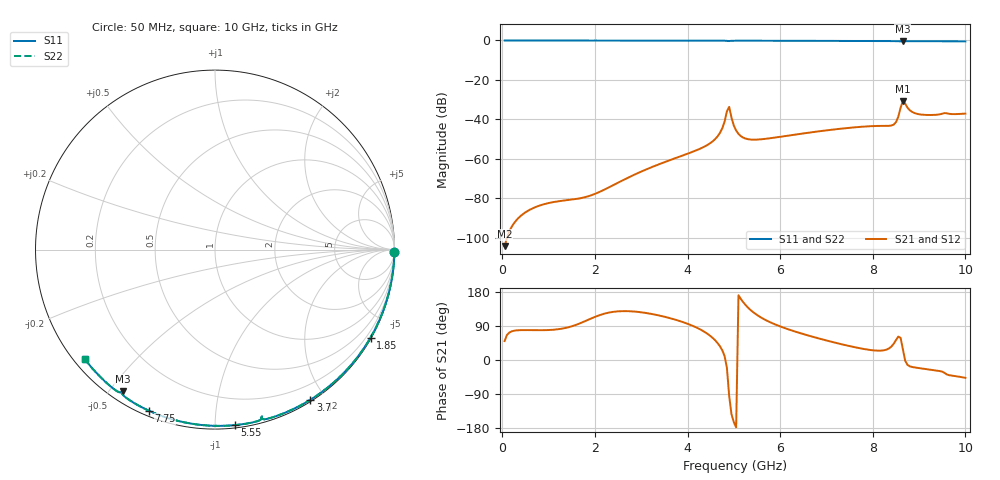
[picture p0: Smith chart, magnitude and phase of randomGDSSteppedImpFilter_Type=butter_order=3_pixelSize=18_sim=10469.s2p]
! freq	dB(S11)	phase(S11)	dB(S12)	phase(S12)
!  dB(S21)	phase(S21)	dB(S22)	phase(S22)
!S-par simulation data
#  GHz  S  DB  R 50
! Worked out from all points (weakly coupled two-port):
!   200 points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, 50 MHz to 10 GHz, reference 50 ohm
!   highest |S21| = -30.62 dB at 8.65 GHz (marker M1); lowest = -104.2 dB at 50 MHz (marker M2)
!   lowest |S11| = -0.5 dB at 8.65 GHz (marker M3), VSWR 32.98, Z = 1.96 - j27.1 ohm
!   |S11| at or under -10 dB: nowhere
!   |S22| runs from -0.5 to 0.0 dB; largest |S21 - S12| = 0
!   S11 on the Smith chart (normalised r, x): 50 MHz: open; 1.85 GHz: 0.03, -3.79; 3.7 GHz: 0.02, -1.82; 5.55 GHz: 0.02, -1.12; 7.75 GHz: 0.02, -0.67; 10 GHz: 0.03, -0.36
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0.05  -0.00 -0.8  -104.19 50.1  -104.19 50.1  -0.00 -0.8
1.75  -0.04 -28.0  -79.60 100.5  -79.60 100.5  -0.04 -28.0
1.85  -0.04 -29.5  -78.97 105.9  -78.97 105.9  -0.04 -29.5
3.4  -0.07 -53.2  -62.55 117.1  -62.55 117.1  -0.07 -53.2
3.7  -0.08 -57.6  -59.93 107.7  -59.93 107.7  -0.08 -57.6
4.3  -0.09 -66.3  -54.52 79.0  -54.52 79.0  -0.09 -66.3
4.6  -0.10 -70.7  -49.89 51.5  -49.89 51.5  -0.10 -70.7
4.75  -0.12 -73.0  -44.49 25.7  -44.49 25.7  -0.12 -73.0
4.85  -0.21 -74.8  -35.92 -20.2  -35.92 -20.2  -0.21 -74.8
4.9  -0.30 -74.3  -33.65 -95.9  -33.65 -95.9  -0.31 -74.3
4.95  -0.17 -74.8  -39.17 -143.5  -39.17 -143.5  -0.17 -74.8
5.05  -0.13 -76.5  -45.65 -178.0  -45.65 -178.0  -0.13 -76.5
5.25  -0.13 -79.4  -49.67 145.5  -49.67 145.5  -0.13 -79.4
5.55  -0.14 -83.6  -50.14 114.8  -50.14 114.8  -0.14 -83.6
6.7  -0.19 -98.9  -46.44 61.4  -46.44 61.4  -0.19 -98.9
7.75  -0.26 -112.3  -43.73 30.3  -43.73 30.3  -0.26 -112.3
8.35  -0.32 -119.9  -43.25 30.4  -43.25 30.4  -0.32 -120.0
8.5  -0.35 -122.0  -41.43 52.4  -41.43 52.4  -0.36 -122.0
8.65  -0.53 -123.1  -30.62 27.5  -30.62 27.5  -0.53 -123.1
8.8  -0.36 -124.8  -35.36 -16.7  -35.36 -16.7  -0.36 -124.8
9  -0.37 -127.5  -37.38 -21.4  -37.38 -21.4  -0.37 -127.5
10  -0.47 -139.9  -37.05 -47.1  -37.05 -47.1  -0.47 -139.9
